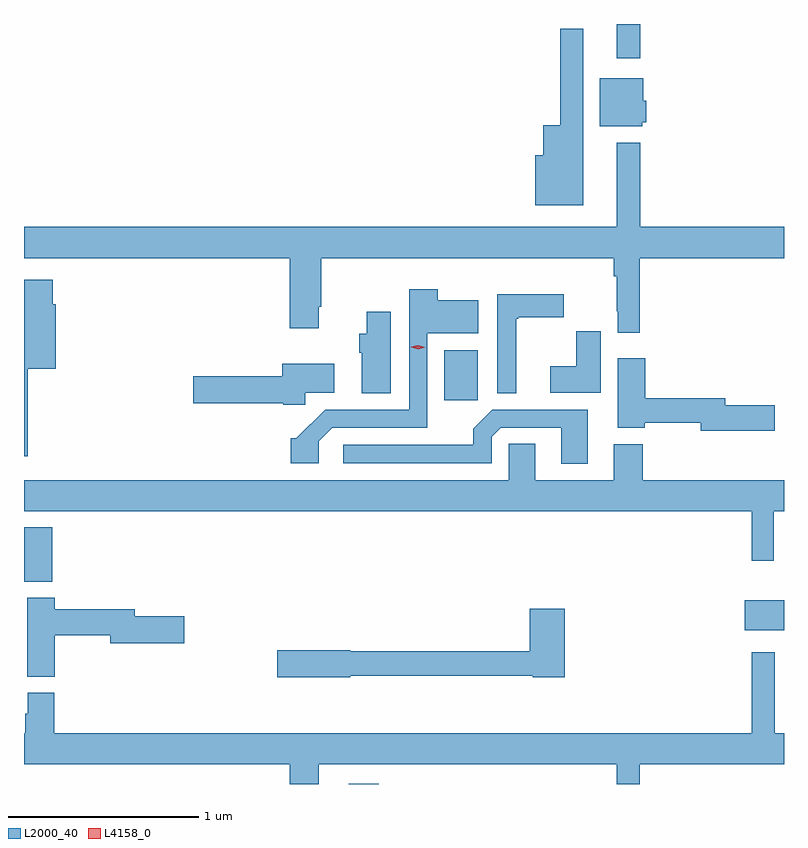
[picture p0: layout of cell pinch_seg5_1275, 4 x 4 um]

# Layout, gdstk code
import gdstk
lib = gdstk.Library(unit=1e-6, precision=1e-09)
def R(c, l, rs):  # rectangles x0, y0, x1, y1
    for r in rs: c.add(gdstk.rectangle(r[:2], r[2:], *l))
def P(c, l, *ps):  # polygons
    for p in ps: c.add(gdstk.Polygon(p, *l))
L2000_40 = (2000, 40)
L4158_0 = (4158, 0)

pinch_seg5_1275 = lib.new_cell('pinch_seg5_1275')
R(pinch_seg5_1275, L2000_40, [(421.454,834.012,421.612,834.013), (423.54,834.821,423.746,834.979), (419.746,835.077,419.894,835.363), (421.958,836.033,422.134,836.296), (422.867,837.831,422.989,838.012)])
P(pinch_seg5_1275, L2000_40, [(422.689,837.988),(422.568,837.988),(422.568,837.478),(422.48,837.478),(422.48,837.322),(422.438,837.322),(422.438,837.059),(422.689,837.059)],
  [(423,837.495),(423.022,837.495),(423.022,837.609),(423.004,837.609),(423.004,837.727),(422.777,837.727),(422.777,837.473),(423,837.473)],
  [(422.987,836.78),(423.746,836.78),(423.746,836.944),(422.989,836.944),(422.989,837.388),(422.867,837.388),(422.867,836.944),(419.746,836.944),(419.746,836.78),(421.145,836.78),(421.145,836.412),(421.297,836.412),(421.297,836.524),(421.31,836.524),(421.31,836.78),(422.851,836.78),(422.851,836.684),(422.866,836.684),(422.866,836.5),(422.871,836.5),(422.871,836.388),(422.987,836.388)],
  [(419.767,836.198),(419.914,836.198),(419.914,836.538),(419.896,836.538),(419.896,836.665),(419.746,836.665),(419.746,835.737),(419.767,835.737)],
  [(421.296,835.815),(421.368,835.887),(421.869,835.887),(421.869,836.384),(422.137,836.384),(422.137,836.557),(421.923,836.557),(421.923,836.617),(421.773,836.617),(421.773,835.983),(421.332,835.983),(421.18,835.831),(421.149,835.831),(421.149,835.701),(421.296,835.701)],
  [(422.336,836.461),(422.347,836.461),(422.347,836.468),(422.587,836.468),(422.587,836.59),(422.238,836.59),(422.238,836.068),(422.336,836.068)],
  [(421.675,836.497),(421.55,836.497),(421.55,836.382),(421.511,836.382),(421.511,836.282),(421.523,836.282),(421.523,836.068),(421.675,836.068)],
  [(422.782,836.395),(422.653,836.395),(422.653,836.212),(422.517,836.212),(422.517,836.072),(422.782,836.072)],
  [(423.697,836.006),(423.436,836.006),(423.436,836.042),(423.017,836.042),(423.017,836.254),(422.87,836.254),(422.87,835.886),(423.012,835.886),(423.012,835.914),(423.308,835.914),(423.308,835.871),(423.697,835.871)],
  [(421.227,836.072),(421.378,836.072),(421.378,836.224),(421.106,836.224),(421.106,836.159),(420.636,836.159),(420.636,836.017),(421.11,836.017),(421.11,836.007),(421.227,836.007)],
  [(422.713,835.983),(422.211,835.983),(422.11,835.881),(422.11,835.797),(421.425,835.797),(421.425,835.701),(422.208,835.701),(422.208,835.839),(422.256,835.887),(422.573,835.887),(422.573,835.698),(422.713,835.698)],
  [(423.693,835.448),(423.746,835.448),(423.746,835.612),(423.002,835.612),(423.002,835.801),(422.849,835.801),(422.849,835.612),(422.437,835.612),(422.437,835.802),(422.298,835.802),(422.298,835.612),(419.746,835.612),(419.746,835.448),(423.577,835.448),(423.577,835.188),(423.693,835.188)],
  [(419.909,834.796),(420.2,834.796),(420.2,834.754),(420.589,834.754),(420.589,834.896),(420.328,834.896),(420.328,834.932),(419.909,834.932),(419.909,834.992),(419.762,834.992),(419.762,834.577),(419.909,834.577)],
  [(421.464,834.582),(422.424,834.582),(422.424,834.574),(422.591,834.574),(422.591,834.934),(422.408,834.934),(422.408,834.71),(421.464,834.71),(421.464,834.716),(421.08,834.716),(421.08,834.574),(421.464,834.574)],
  [(421.297,834.116),(422.866,834.116),(422.866,834.012),(422.987,834.012),(422.987,834.116),(423.746,834.116),(423.746,834.28),(423.697,834.28),(423.697,834.706),(423.575,834.706),(423.575,834.28),(419.906,834.28),(419.906,834.492),(419.765,834.492),(419.765,834.381),(419.753,834.381),(419.753,834.28),(419.746,834.28),(419.746,834.116),(421.145,834.116),(421.145,834.012),(421.297,834.012)])
P(pinch_seg5_1275, L4158_0, [(421.821,836.301),(421.785,836.312),(421.785,836.312),(421.785,836.313),(421.821,836.321),(421.857,836.31),(421.857,836.31),(421.857,836.31)])

lib.write_gds('pinch_seg5_1275.gds')
